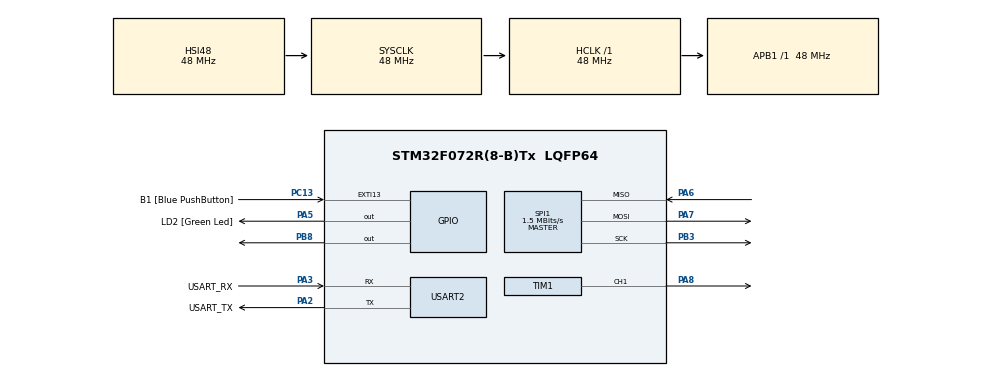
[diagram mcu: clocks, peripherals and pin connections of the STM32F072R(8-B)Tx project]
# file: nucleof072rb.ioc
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Mcu.Family=STM32F0
Mcu.Name=STM32F072R(8-B)Tx
Mcu.Package=LQFP64
PA13.GPIO_Label=TMS
PA13.Mode=Serial_Wire
PA13.Signal=SYS_SWDIO
PA14.GPIO_Label=TCK
PA14.Mode=Serial_Wire
PA14.Signal=SYS_SWCLK
PA2.GPIO_Label=USART_TX
PA2.GPIO_Mode=GPIO_MODE_AF_PP
PA2.GPIO_PuPd=GPIO_NOPULL
PA2.GPIO_Speed=GPIO_SPEED_FREQ_LOW
PA2.Mode=Asynchronous
PA2.Signal=USART2_TX
PA3.GPIO_Label=USART_RX
PA3.GPIO_Mode=GPIO_MODE_AF_PP
PA3.GPIO_PuPd=GPIO_NOPULL
PA3.GPIO_Speed=GPIO_SPEED_FREQ_LOW
PA3.Mode=Asynchronous
PA3.Signal=USART2_RX
PA5.GPIO_Label=LD2 [Green Led]
PA5.GPIO_Mode=GPIO_MODE_OUTPUT_PP
PA5.GPIO_PuPd=GPIO_NOPULL
PA5.GPIO_Speed=GPIO_SPEED_FREQ_LOW
PA5.Signal=GPIO_Output
PA6.Mode=Full_Duplex_Master
PA6.Signal=SPI1_MISO
PA7.Mode=Full_Duplex_Master
PA7.Signal=SPI1_MOSI
PA8.Signal=S_TIM1_CH1
PB3.Mode=Full_Duplex_Master
PB3.Signal=SPI1_SCK
PB8.Signal=GPIO_Output
PC13.GPIO_Label=B1 [Blue PushButton]
PC13.GPIO_ModeDefaultEXTI=GPIO_MODE_IT_FALLING
PC13.Signal=GPXTI13
PC14-OSC32_IN.Mode=LSE-External-Oscillator
PC14-OSC32_IN.Signal=RCC_OSC32_IN
PC15-OSC32_OUT.Mode=LSE-External-Oscillator
PC15-OSC32_OUT.Signal=RCC_OSC32_OUT
PF0-OSC_IN.Mode=HSE-External-Clock-Source
PF0-OSC_IN.Signal=RCC_OSC_IN
PF1-OSC_OUT.Signal=RCC_OSC_OUT
ProjectManager.HeapSize=0x200
ProjectManager.StackSize=0x400
ProjectManager.TargetToolchain=STM32CubeIDE
RCC.AHBFreq_Value=48000000
RCC.APB1Freq_Value=48000000
RCC.APB1TimFreq_Value=48000000
RCC.FLatency-AdvancedSettings=FLASH_LATENCY_1
RCC.HCLKFreq_Value=48000000
RCC.PLLDivider=RCC_PREDIV_DIV2
RCC.PLLMUL=RCC_PLL_MUL12
RCC.PREFETCH_ENABLE-AdvancedSettings=1
RCC.SYSCLKFreq_VALUE=48000000
RCC.SYSCLKSource=RCC_SYSCLKSOURCE_HSI48
SH.S_TIM1_CH1.0=TIM1_CH1,PWM Generation1 CH1
SPI1.BaudRatePrescaler=SPI_BAUDRATEPRESCALER_32
SPI1.CalculateBaudRate=1.5 MBits/s
SPI1.DataSize=SPI_DATASIZE_8BIT
SPI1.Direction=SPI_DIRECTION_2LINES
SPI1.FirstBit=SPI_FIRSTBIT_LSB
SPI1.Mode=SPI_MODE_MASTER
SPI1.VirtualType=VM_MASTER
TIM1.Channel-PWM\ Generation1\ CH1=TIM_CHANNEL_1
TIM1.Period=64000
TIM1.Prescaler=14-1
USART2.VirtualMode=VM_ASYNC
USART2.VirtualMode-Asynchronous=VM_ASYNC
VP_TIM1_VS_ClockSourceINT.Mode=Internal
board=NUCLEO-F072RB

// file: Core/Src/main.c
/* USER CODE BEGIN Header */
/**
  ******************************************************************************
  * @file           : main.c
  * @brief          : Main program body
  ******************************************************************************
  * @attention
  *
  * <h2><center>&copy; Copyright (c) 2021 STMicroelectronics.
  * All rights reserved.</center></h2>
  *
  * This software component is licensed by ST under BSD 3-Clause license,
  * the "License"; You may not use this file except in compliance with the
  * License. You may obtain a copy of the License at:
  *                        opensource.org/licenses/BSD-3-Clause
  *
  ******************************************************************************
  */
/* USER CODE END Header */
#include "main.h"
#include "spi.h"
#include "tim.h"
#include "usart.h"
#include "gpio.h"

/* USER CODE BEGIN PV */
const uint16_t maxDutyCycleValRange = 6400;
const uint16_t minDutyCycleValRange = 3200;
const uint16_t maxADCVal = 1023;
const uint8_t CH0 = 0;

/* USER CODE END PV */

void SystemClock_Config(void);

/* USER CODE BEGIN 0 */

uint16_t adcValToCounts(uint16_t resolution){
	return (resolution / maxADCVal) * (maxDutyCycleValRange - minDutyCycleValRange) + minDutyCycleValRange; // scale value up to a range of 3200-6400 (5-10% duty cycle of a period of 64000)
}

void runMotor(uint16_t resolution) {
	// convert resolution to # of counts
	uint16_t counts = adcValToCounts(resolution);
	// if the timer is less than the value in the compare register -> motor pin gets set to HIGH
	__HAL_TIM_SET_COMPARE(&htim1, CH0, counts);
}

/* USER CODE END 0 */

int main(void)
{

  /* MCU Configuration--------------------------------------------------------*/

  /* Reset of all peripherals, Initializes the Flash interface and the Systick. */
  HAL_Init();

  /* Configure the system clock */
  SystemClock_Config();

  /* Initialize all configured peripherals */
  MX_GPIO_Init();
  MX_USART2_UART_Init();
  MX_SPI1_Init();
  MX_TIM1_Init();
  /* USER CODE BEGIN 2 */
  // have the timer start
  HAL_TIM_PWM_Start(&htim1, CH0);

  // CS pin will always be high by default
  HAL_GPIO_WritePin(GPIOB, GPIO_PIN_8, GPIO_PIN_SET);

  char send_buf[3] = {0x01, 0x80, 0x00};; // send 3 bytes
  char recv_buf[3];

  /* USER CODE END 2 */

  /* Infinite loop */
  while (1)
  {

    /* USER CODE BEGIN 3 */
	 // Pull CS line low
	HAL_GPIO_WritePin(GPIOB, GPIO_PIN_8, GPIO_PIN_RESET);
	HAL_SPI_TransmitReceive(&hspi1, (uint8_t*)&send_buf, (uint8_t*)&recv_buf, 3, 100);
	HAL_GPIO_WritePin(GPIOB, GPIO_PIN_8, GPIO_PIN_SET);

	uint16_t resolution = ( ((uint16_t)recv_buf[2] << 8) | (uint16_t)recv_buf[3]) & 0x0003FF; // 10 bit value of ADC,

	runMotor(resolution);

	HAL_Delay(10);
  }
  /* USER CODE END 3 */
}

void SystemClock_Config(void)
{
  RCC_OscInitTypeDef RCC_OscInitStruct = {0};
  RCC_ClkInitTypeDef RCC_ClkInitStruct = {0};
  RCC_PeriphCLKInitTypeDef PeriphClkInit = {0};

  /** Initializes the RCC Oscillators according to the specified parameters
  * in the RCC_OscInitTypeDef structure.
  */
  RCC_OscInitStruct.OscillatorType = RCC_OSCILLATORTYPE_HSI48;
  RCC_OscInitStruct.HSI48State = RCC_HSI48_ON;
  RCC_OscInitStruct.PLL.PLLState = RCC_PLL_NONE;
  if (HAL_RCC_OscConfig(&RCC_OscInitStruct) != HAL_OK)
  {
    Error_Handler();
  }

  /** Initializes the CPU, AHB and APB buses clocks
  */
  RCC_ClkInitStruct.ClockType = RCC_CLOCKTYPE_HCLK|RCC_CLOCKTYPE_SYSCLK
                              |RCC_CLOCKTYPE_PCLK1;
  RCC_ClkInitStruct.SYSCLKSource = RCC_SYSCLKSOURCE_HSI48;
  RCC_ClkInitStruct.AHBCLKDivider = RCC_SYSCLK_DIV1;
  RCC_ClkInitStruct.APB1CLKDivider = RCC_HCLK_DIV1;

  if (HAL_RCC_ClockConfig(&RCC_ClkInitStruct, FLASH_LATENCY_1) != HAL_OK)
  {
    Error_Handler();
  }
  PeriphClkInit.PeriphClockSelection = RCC_PERIPHCLK_USART2;
  PeriphClkInit.Usart2ClockSelection = RCC_USART2CLKSOURCE_PCLK1;
  if (HAL_RCCEx_PeriphCLKConfig(&PeriphClkInit) != HAL_OK)
  {
    Error_Handler();
  }
}

void Error_Handler(void)
{
  __disable_irq();
  while (1)
  {
  }
}
